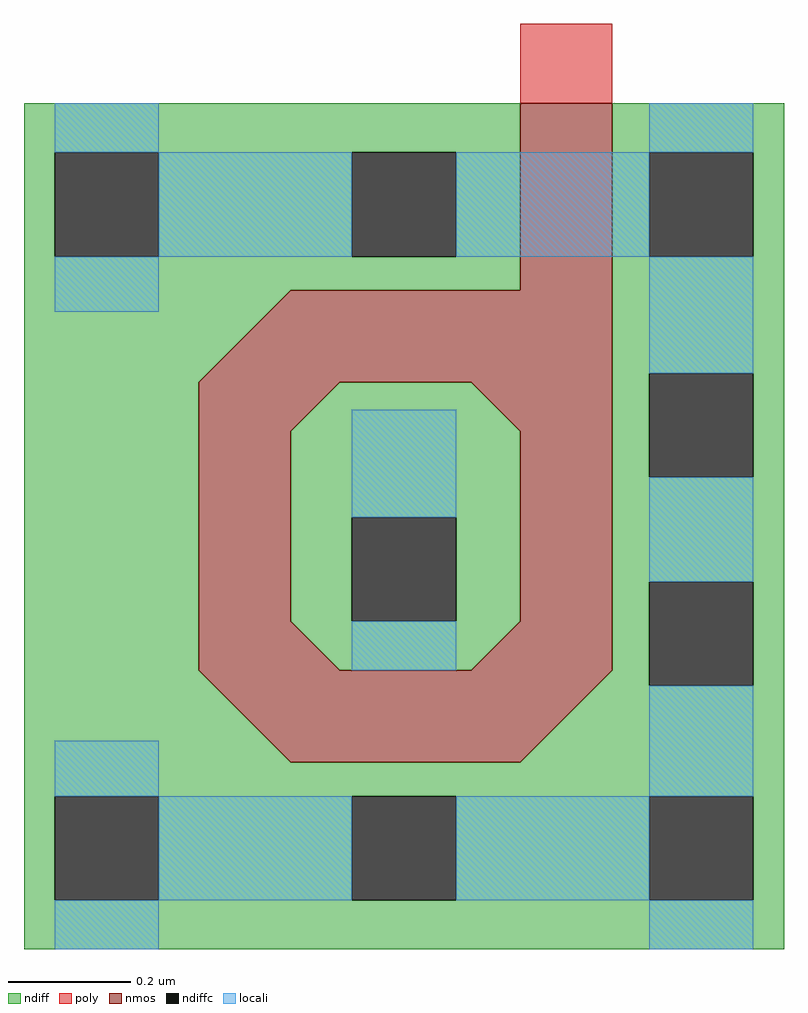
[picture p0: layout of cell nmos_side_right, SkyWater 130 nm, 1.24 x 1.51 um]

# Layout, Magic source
magic
tech sky130A
magscale 1 2
<< nmos >>
rect 125 182 155 243
tri 20 152 50 182 se
rect 50 152 155 182
rect 20 58 50 152
tri 50 136 66 152 nw
tri 109 136 125 152 ne
tri 50 58 66 74 sw
tri 109 58 125 74 se
rect 125 58 155 152
tri 20 28 50 58 ne
rect 50 28 125 58
tri 125 28 155 58 nw
<< ndiff >>
rect -37 227 125 243
rect -37 193 -27 227
rect 7 193 70 227
rect 104 193 125 227
rect -37 182 125 193
rect 155 227 211 243
rect 155 193 167 227
rect 201 193 211 227
rect -37 28 20 182
tri 20 152 50 182 nw
rect 155 155 211 193
tri 50 136 66 152 se
rect 66 136 109 152
tri 109 136 125 152 sw
rect 50 108 125 136
rect 50 74 70 108
rect 104 74 125 108
tri 50 58 66 74 ne
rect 66 58 109 74
tri 109 58 125 74 nw
rect 155 121 167 155
rect 201 121 211 155
rect 155 87 211 121
tri 20 28 50 58 sw
tri 125 28 155 58 se
rect 155 53 167 87
rect 201 53 211 87
rect 155 28 211 53
rect -37 17 211 28
rect -37 -17 -27 17
rect 7 -17 70 17
rect 104 -17 167 17
rect 201 -17 211 17
rect -37 -33 211 -17
<< ndiffc >>
rect -27 193 7 227
rect 70 193 104 227
rect 167 193 201 227
rect 70 74 104 108
rect 167 121 201 155
rect 167 53 201 87
rect -27 -17 7 17
rect 70 -17 104 17
rect 167 -17 201 17
<< poly >>
rect 125 243 155 269
<< locali >>
rect -27 227 7 243
rect 167 227 201 243
rect 7 193 70 227
rect 104 193 167 227
rect -27 175 7 193
rect 167 155 201 193
rect 70 108 104 143
rect 70 58 104 74
rect 167 87 201 121
rect -27 17 7 35
rect 167 17 201 53
rect 7 -17 70 17
rect 104 -17 167 17
rect -27 -33 7 -17
rect 167 -33 201 -17
<< end >>
